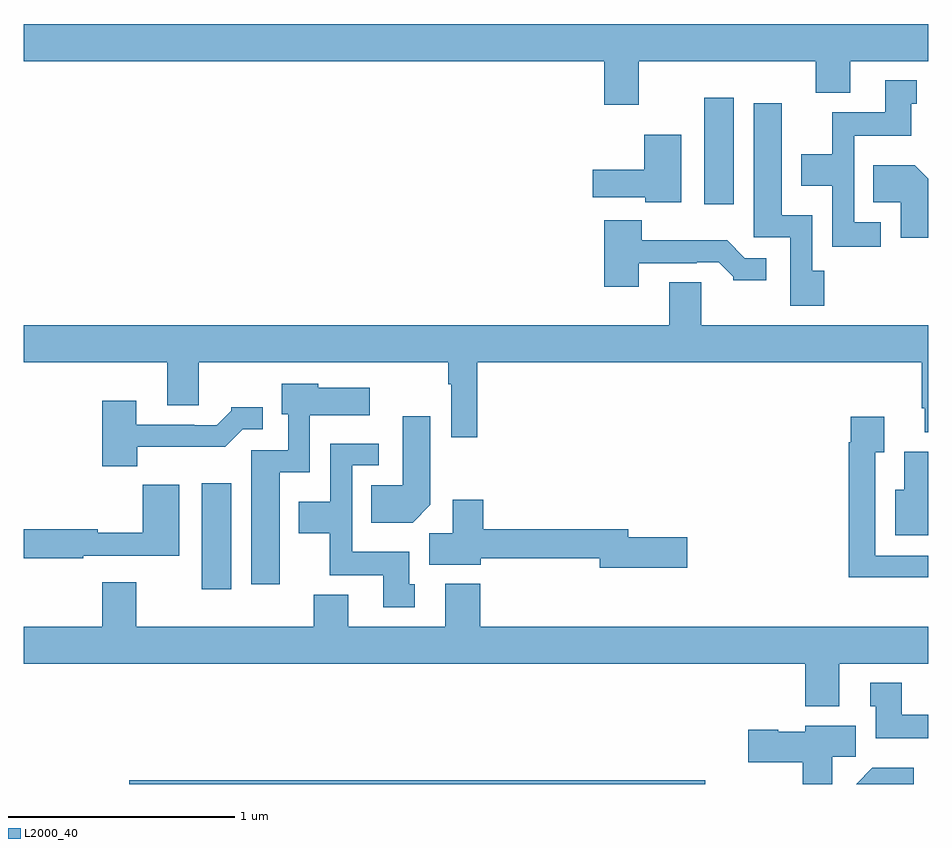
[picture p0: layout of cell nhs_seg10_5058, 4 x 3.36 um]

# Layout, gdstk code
import gdstk
lib = gdstk.Library(unit=1e-6, precision=1e-09)
def R(c, l, rs):  # rectangles x0, y0, x1, y1
    for r in rs: c.add(gdstk.rectangle(r[:2], r[2:], *l))
def P(c, l, *ps):  # polygons
    for p in ps: c.add(gdstk.Polygon(p, *l))
L2000_40 = (2000, 40)

nhs_seg10_5058 = lib.new_cell('nhs_seg10_5058')
R(nhs_seg10_5058, L2000_40, [(405.467,1250.5,408.014,1250.516), (405.788,1251.36,405.919,1251.829), (408.008,1253.064,408.139,1253.533)])
P(nhs_seg10_5058, L2000_40, [(407.719,1253.696),(408.503,1253.696),(408.503,1253.555),(408.655,1253.555),(408.655,1253.696),(409,1253.696),(409,1253.86),(405,1253.86),(405,1253.696),(407.567,1253.696),(407.567,1253.502),(407.719,1253.502)],
  [(408.79,1252.983),(408.672,1252.983),(408.672,1253.366),(408.925,1253.366),(408.925,1253.508),(408.949,1253.508),(408.949,1253.611),(408.809,1253.611),(408.809,1253.47),(408.574,1253.47),(408.574,1253.284),(408.437,1253.284),(408.437,1253.144),(408.576,1253.144),(408.576,1252.875),(408.79,1252.875)],
  [(408.539,1252.77),(408.486,1252.77),(408.486,1253.014),(408.352,1253.014),(408.352,1253.509),(408.227,1253.509),(408.227,1252.917),(408.39,1252.917),(408.39,1252.614),(408.539,1252.614)],
  [(407.908,1253.371),(407.744,1253.371),(407.744,1253.215),(407.517,1253.215),(407.517,1253.093),(407.748,1253.093),(407.748,1253.072),(407.908,1253.072)],
  [(409,1253.176),(408.94,1253.236),(408.757,1253.236),(408.757,1253.072),(408.878,1253.072),(408.878,1252.915),(409,1252.915)],
  [(407.719,1252.803),(407.975,1252.803),(407.975,1252.806),(408.074,1252.806),(408.138,1252.742),(408.138,1252.727),(408.283,1252.727),(408.283,1252.824),(408.189,1252.824),(408.111,1252.903),(407.732,1252.903),(407.732,1252.993),(407.567,1252.993),(407.567,1252.698),(407.719,1252.698)],
  [(408.971,1252.162),(408.983,1252.162),(408.983,1252.055),(409,1252.055),(409,1252.528),(407.995,1252.528),(407.995,1252.718),(407.855,1252.718),(407.855,1252.528),(405,1252.528),(405,1252.364),(405.635,1252.364),(405.635,1252.174),(405.775,1252.174),(405.775,1252.364),(406.878,1252.364),(406.878,1252.268),(406.89,1252.268),(406.89,1252.032),(407.006,1252.032),(407.006,1252.364),(408.971,1252.364)],
  [(406.132,1251.878),(406.266,1251.878),(406.266,1252.13),(406.531,1252.13),(406.531,1252.252),(406.302,1252.252),(406.302,1252.27),(406.142,1252.27),(406.142,1252.134),(406.17,1252.134),(406.17,1251.975),(406.007,1251.975),(406.007,1251.384),(406.132,1251.384)],
  [(405.502,1251.99),(405.891,1251.99),(405.969,1252.068),(406.057,1252.068),(406.057,1252.165),(405.918,1252.165),(405.918,1252.15),(405.854,1252.086),(405.755,1252.086),(405.755,1252.089),(405.499,1252.089),(405.499,1252.195),(405.347,1252.195),(405.347,1251.905),(405.502,1251.905)],
  [(406.798,1251.734),(406.798,1252.126),(406.676,1252.126),(406.676,1251.82),(406.537,1251.82),(406.537,1251.656),(406.72,1251.656)],
  [(408.941,1251.414),(409,1251.414),(409,1251.51),(408.765,1251.51),(408.765,1251.967),(408.805,1251.967),(408.805,1252.123),(408.657,1252.123),(408.657,1252.01),(408.649,1252.01),(408.649,1251.413),(408.941,1251.413)],
  [(406.729,1251.384),(406.705,1251.384),(406.705,1251.526),(406.452,1251.526),(406.452,1251.909),(406.57,1251.909),(406.57,1252.005),(406.356,1252.005),(406.356,1251.748),(406.217,1251.748),(406.217,1251.608),(406.354,1251.608),(406.354,1251.422),(406.589,1251.422),(406.589,1251.282),(406.729,1251.282)],
  [(409,1251.97),(408.893,1251.97),(408.893,1251.802),(408.854,1251.802),(408.854,1251.599),(409,1251.599)],
  [(405.263,1251.51),(405.688,1251.51),(405.688,1251.823),(405.526,1251.823),(405.526,1251.611),(405.328,1251.611),(405.328,1251.626),(405,1251.626),(405,1251.498),(405.263,1251.498)],
  [(407.935,1251.59),(407.674,1251.59),(407.674,1251.626),(407.033,1251.626),(407.033,1251.757),(406.898,1251.757),(406.898,1251.608),(406.793,1251.608),(406.793,1251.47),(407.02,1251.47),(407.02,1251.498),(407.546,1251.498),(407.546,1251.455),(407.935,1251.455)],
  [(408.607,1251.032),(409,1251.032),(409,1251.196),(407.018,1251.196),(407.018,1251.385),(406.865,1251.385),(406.865,1251.196),(406.435,1251.196),(406.435,1251.337),(406.283,1251.337),(406.283,1251.196),(405.499,1251.196),(405.499,1251.391),(405.347,1251.391),(405.347,1251.196),(405,1251.196),(405,1251.032),(408.455,1251.032),(408.455,1250.843),(408.607,1250.843)],
  [(409,1250.806),(408.883,1250.806),(408.883,1250.947),(408.743,1250.947),(408.743,1250.844),(408.767,1250.844),(408.767,1250.702),(409,1250.702)],
  [(408.574,1250.62),(408.679,1250.62),(408.679,1250.758),(408.456,1250.758),(408.456,1250.731),(408.336,1250.731),(408.336,1250.739),(408.204,1250.739),(408.204,1250.597),(408.445,1250.597),(408.445,1250.5),(408.574,1250.5)],
  [(408.935,1250.572),(408.752,1250.572),(408.68,1250.5),(408.935,1250.5)])

lib.write_gds('nhs_seg10_5058.gds')
